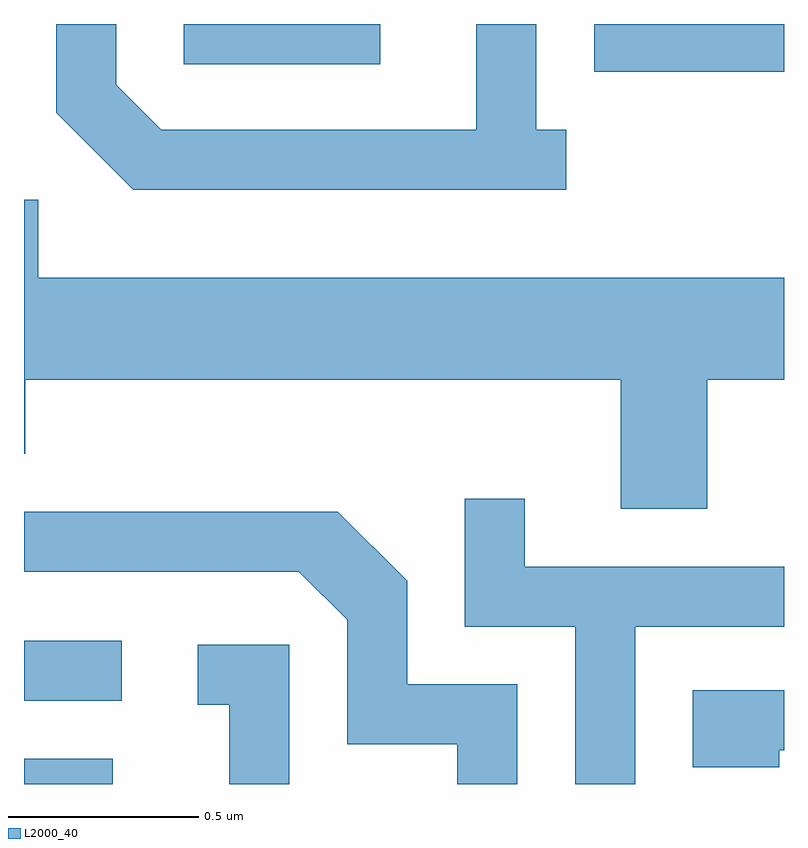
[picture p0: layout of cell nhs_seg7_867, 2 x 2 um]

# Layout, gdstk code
import gdstk
lib = gdstk.Library(unit=1e-6, precision=1e-09)
def R(c, l, rs):  # rectangles x0, y0, x1, y1
    for r in rs: c.add(gdstk.rectangle(r[:2], r[2:], *l))
def P(c, l, *ps):  # polygons
    for p in ps: c.add(gdstk.Polygon(p, *l))
L2000_40 = (2000, 40)

nhs_seg7_867 = lib.new_cell('nhs_seg7_867')
R(nhs_seg7_867, L2000_40, [(191.611,1713.252,191.844,1713.319), (191.611,1713.471,191.868,1713.629), (193.111,1715.126,193.611,1715.252), (192.031,1715.146,192.548,1715.252)])
P(nhs_seg7_867, L2000_40, [(193.038,1714.974),(192.959,1714.974),(192.959,1715.252),(192.801,1715.252),(192.801,1714.974),(191.972,1714.974),(191.854,1715.092),(191.854,1715.252),(191.696,1715.252),(191.696,1715.019),(191.899,1714.816),(193.038,1714.816)],
  [(193.409,1714.316),(193.611,1714.316),(193.611,1714.584),(191.649,1714.584),(191.649,1714.789),(191.611,1714.789),(191.611,1714.121),(191.614,1714.121),(191.614,1714.316),(193.181,1714.316),(193.181,1713.976),(193.409,1713.976)],
  [(193.219,1713.666),(193.611,1713.666),(193.611,1713.824),(192.929,1713.824),(192.929,1714.003),(192.771,1714.003),(192.771,1713.666),(193.061,1713.666),(193.061,1713.252),(193.219,1713.252)],
  [(192.909,1713.514),(192.619,1713.514),(192.619,1713.787),(192.437,1713.969),(191.611,1713.969),(191.611,1713.811),(192.334,1713.811),(192.461,1713.684),(192.461,1713.356),(192.751,1713.356),(192.751,1713.252),(192.909,1713.252)],
  [(192.309,1713.619),(192.068,1713.619),(192.068,1713.461),(192.151,1713.461),(192.151,1713.252),(192.309,1713.252)],
  [(193.599,1713.341),(193.611,1713.341),(193.611,1713.499),(193.371,1713.499),(193.371,1713.296),(193.599,1713.296)])

lib.write_gds('nhs_seg7_867.gds')
